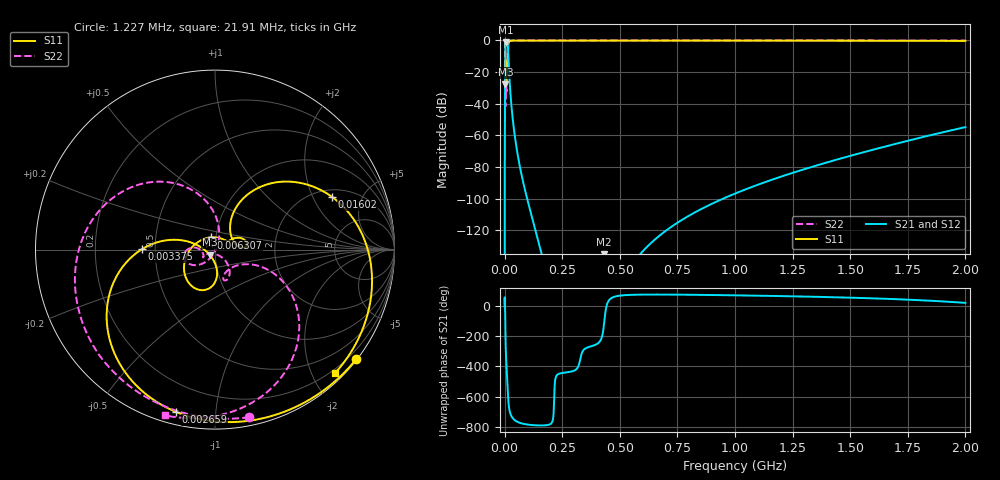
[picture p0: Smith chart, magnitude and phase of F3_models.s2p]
! Created with skrf 2.2.0 (http://scikit-rf.org).
# MHz S RI R 50.0
! Port[1] = P1
! Port[2] = P2
!freq ReS11 ImS11 ReS21 ImS21 ReS12 ImS12 ReS22 ImS22
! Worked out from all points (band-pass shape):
!   2001 points, 50 kHz to 2 GHz, reference 50 ohm
!   highest |S21| = -1.27 dB at 6.273 MHz (marker M1); lowest = -198.7 dB at 432.5 MHz (marker M2)
!   |S21| within 3 dB of the highest: 3.277 MHz to 14.52 MHz (11.25 MHz wide, 126 % of centre)
!   lowest |S11| = -27.6 dB at 3.713 MHz (marker M3), VSWR 1.09, Z = 47 - j2.74 ohm
!   |S11| at or under -10 dB: 3.441 MHz to 14.2 MHz (10.75 MHz wide, 122 % of centre)
!   |S22| runs from -41.6 to 0.0 dB; largest |S21 - S12| = 1.1e-15
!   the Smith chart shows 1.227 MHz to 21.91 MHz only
!   S11 on the Smith chart (normalised r, x): 1.227 MHz: 0.02, -2.92; 2.659 MHz: 0.06, -0.79; 3.375 MHz: 0.42, +0.00; 6.307 MHz: 0.94, +0.13; 16.02 MHz: 2.37, +2.84; 21.91 MHz: 0.14, -2.37
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0.05  0.9996 -0.0258  4.6e-10 -4.9e-11  4.6e-10 -4.9e-11  0.9982 -0.0574
0.2934364  0.9883 -0.1509  9.09e-07 1.28e-06  9.09e-07 1.28e-06  0.9407 -0.3292
0.6706172  0.9384 -0.3423  6.64e-05 6.96e-05  6.64e-05 6.96e-05  0.7115 -0.6801
1.226852  0.787 -0.6101  0.00191 0.000744  0.00191 0.000744  0.1916 -0.9337
1.712999  0.5642 -0.8128  0.0119 -0.000437  0.0119 -0.000437  -0.2796 -0.8737
2.659148  -0.2188 -0.9034  0.0808 -0.1385  0.0808 -0.1385  -0.7785 -0.1152
3.375117  -0.4075 0.00196  -0.568 -0.394  -0.568 -0.394  -0.0597 0.2799
3.71285  -0.0296 -0.029  -0.8083 0.1484  -0.8083 0.1484  -0.0136 -0.0315
4.712526  -0.1569 -0.1679  -0.0522 0.8408  -0.0522 0.8408  -0.1506 0.00253
6.273492  -0.0288 0.0675  0.7934 0.343  0.7934 0.343  -0.0642 -0.0404
6.306819  -0.0247 0.068  0.8006 0.3258  0.8006 0.3258  -0.0644 -0.0411
8.395876  0.0798 0.0498  0.6117 -0.5925  0.6117 -0.5925  -0.004 -0.024
10  0.1418 0.0649  0.0348 -0.8282  0.0348 -0.8282  0.079 -0.1034
12.96434  0.0969 0.0579  -0.7408 -0.1609  -0.7408 -0.1609  0.0808 -0.108
16.02477  0.6533 0.2926  -0.0645 0.3742  -0.0645 0.3742  0.4506 -0.5544
21.90546  0.671 -0.6861  0.0454 0.0221  0.0454 0.0221  -0.2784 -0.9238
58.68728  -0.6564 -0.7429  0.000138 -0.000152  0.000138 -0.000152  -0.9178 -0.3895
69.90013  -0.7568 -0.6407  4.5e-05 -6.2e-05  4.5e-05 -6.2e-05  -0.9428 -0.3254
342.5997  -0.9917 0.0184  4.81e-10 1.19e-09  4.81e-10 1.19e-09  -0.9976 -0.0257
432.546  -0.9872 0.0954  -3.41e-11 -1.11e-10  -3.41e-11 -1.11e-10  -0.9979 -0.000155
1295.226  -0.7086 0.6878  4.03e-05 7.27e-05  4.03e-05 7.27e-05  -0.9871 0.1463
2000  0.5372 0.8055  0.00172 0.0006  0.00172 0.0006  -0.9664 0.2483
